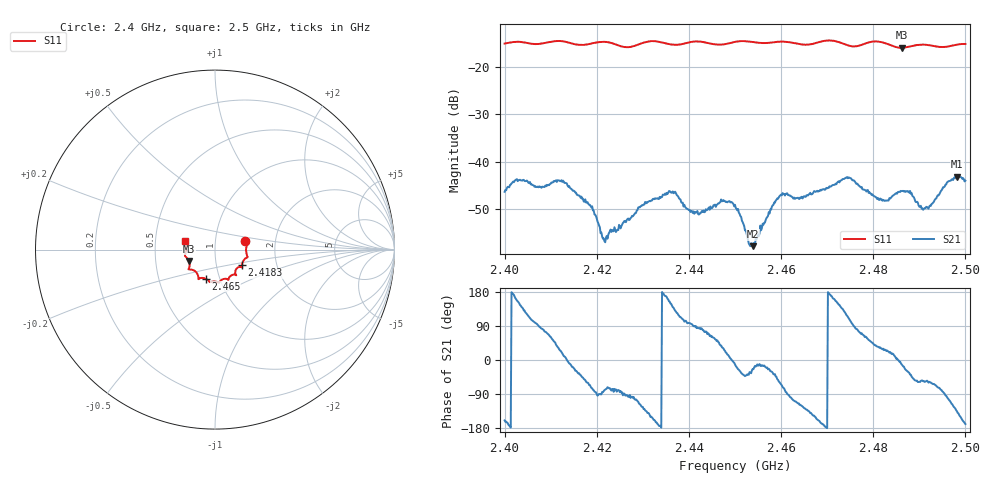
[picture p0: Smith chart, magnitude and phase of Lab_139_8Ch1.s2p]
# Hz S RI R 50
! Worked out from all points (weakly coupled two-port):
!   601 points, 2.4 GHz to 2.5 GHz, reference 50 ohm
!   highest |S21| = -43.13 dB at 2.4982 GHz (marker M1); lowest = -57.8 dB at 2.4538 GHz (marker M2)
!   lowest |S11| = -16.0 dB at 2.4862 GHz (marker M3), VSWR 1.38, Z = 37.1 - j4.82 ohm
!   |S11| at or under -10 dB: start of sweep to end of sweep
!   S12 and S22 are empty: the file has one direction only
!   S11 on the Smith chart (normalised r, x): 2.4 GHz: 1.40, +0.13; 2.4183 GHz: 1.33, -0.24; 2.465 GHz: 0.86, -0.29; 2.5 GHz: 0.71, +0.07
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2.4e9  0.1689 0.0457  -0.00451 -0.00169  0 0  0 0
2.402833e9  0.1798 0.0334  -0.00564 0.00265  0 0  0 0
2.4075e9  0.1733 -0.00969  0.000198 0.00549  0 0  0 0
2.412167e9  0.1813 -0.0425  0.0057 0.00254  0 0  0 0
2.416667e9  0.155 -0.0681  0.00315 -0.0029  0 0  0 0
2.418333e9  0.1502 -0.0867  0.00143 -0.00321  0 0  0 0
2.421833e9  0.1526 -0.1  0.000292 -0.00139  0 0  0 0
2.433333e9  0.1169 -0.1413  -0.004 -0.000691  0 0  0 0
2.436667e9  0.0931 -0.1427  -0.00344 0.00312  0 0  0 0
2.441667e9  0.074 -0.1688  0.000295 0.0029  0 0  0 0
2.447333e9  0.0405 -0.1663  0.00326 0.00205  0 0  0 0
2.45e9  0.0252 -0.1806  0.00344 -0.000719  0 0  0 0
2.453833e9  0.0151 -0.1814  0.00118 -0.000516  0 0  0 0
2.4595e9  -0.026 -0.1812  0.00231 -0.0035  0 0  0 0
2.465e9  -0.0526 -0.1621  -0.0026 -0.00347  0 0  0 0
2.466667e9  -0.0713 -0.1576  -0.00361 -0.00274  0 0  0 0
2.474667e9  -0.0991 -0.1341  -0.00237 0.0064  0 0  0 0
2.483333e9  -0.1422 -0.0961  0.00362 0.00146  0 0  0 0
2.486167e9  -0.1447 -0.0634  0.00479 -0.000985  0 0  0 0
2.4915e9  -0.1671 -0.0309  0.00187 -0.00278  0 0  0 0
2.498167e9  -0.1667 0.0371  -0.00495 -0.00492  0 0  0 0
2.5e9  -0.1668 0.0471  -0.00619 -0.00122  0 0  0 0
